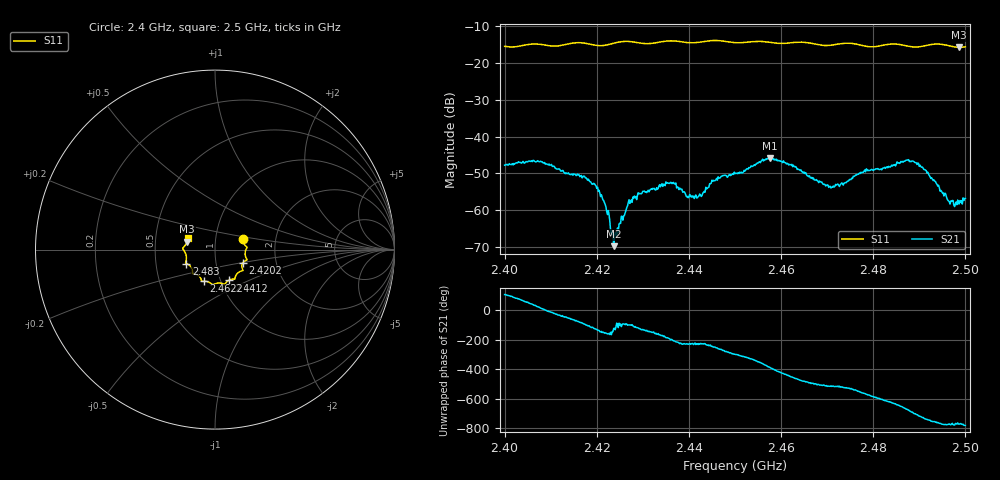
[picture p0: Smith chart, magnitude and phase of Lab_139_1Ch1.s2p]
# Hz S RI R 50
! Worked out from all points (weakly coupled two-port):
!   601 points, 2.4 GHz to 2.5 GHz, reference 50 ohm
!   highest |S21| = -45.89 dB at 2.4575 GHz (marker M1); lowest = -69.7 dB at 2.4237 GHz (marker M2)
!   lowest |S11| = -15.8 dB at 2.4987 GHz (marker M3), VSWR 1.39, Z = 36.4 + j3.29 ohm
!   |S11| at or under -10 dB: start of sweep to end of sweep
!   S12 and S22 are empty: the file has one direction only
!   S11 on the Smith chart (normalised r, x): 2.4 GHz: 1.36, +0.17; 2.4202 GHz: 1.35, -0.20; 2.4412 GHz: 1.09, -0.39; 2.4622 GHz: 0.83, -0.30; 2.483 GHz: 0.72, -0.12; 2.5 GHz: 0.73, +0.09
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2.4e9  0.1563 0.06  -0.00117 0.00392  0 0  0 0
2.407667e9  0.1781 0.00994  0.00435 0.00138  0 0  0 0
2.416667e9  0.1776 -0.0585  0.000332 -0.00295  0 0  0 0
2.420167e9  0.1559 -0.0719  -0.00146 -0.00145  0 0  0 0
2.422167e9  0.1493 -0.0909  -0.000879 -0.000365  0 0  0 0
2.423667e9  0.1515 -0.1048  -0.000181 -0.000271  0 0  0 0
2.427333e9  0.1547 -0.1172  -0.000203 -0.00128  0 0  0 0
2.433333e9  0.1128 -0.1525  -0.00183 -0.000733  0 0  0 0
2.436667e9  0.1094 -0.1654  -0.0021 0.00112  0 0  0 0
2.441167e9  0.0753 -0.1716  -0.000985 0.00106  0 0  0 0
2.4455e9  0.0529 -0.1939  -0.00086 0.00236  0 0  0 0
2.45e9  0.0264 -0.1861  0.00149 0.00277  0 0  0 0
2.4575e9  -0.0213 -0.1885  0.00457 -0.0022  0 0  0 0
2.462167e9  -0.0632 -0.1764  -0.000148 -0.00413  0 0  0 0
2.466667e9  -0.0766 -0.1669  -0.00196 -0.00199  0 0  0 0
2.471167e9  -0.1075 -0.1374  -0.00186 -0.000867  0 0  0 0
2.483e9  -0.1592 -0.078  -0.000899 0.00378  0 0  0 0
2.483333e9  -0.1609 -0.0773  -0.00068 0.00388  0 0  0 0
2.489333e9  -0.1611 -0.0307  0.00428 0.00106  0 0  0 0
2.4965e9  -0.169 0.0197  0.000839 -0.001  0 0  0 0
2.498667e9  -0.1559 0.044  0.000748 -0.000962  0 0  0 0
2.5e9  -0.1529 0.0627  0.00071 -0.00126  0 0  0 0
